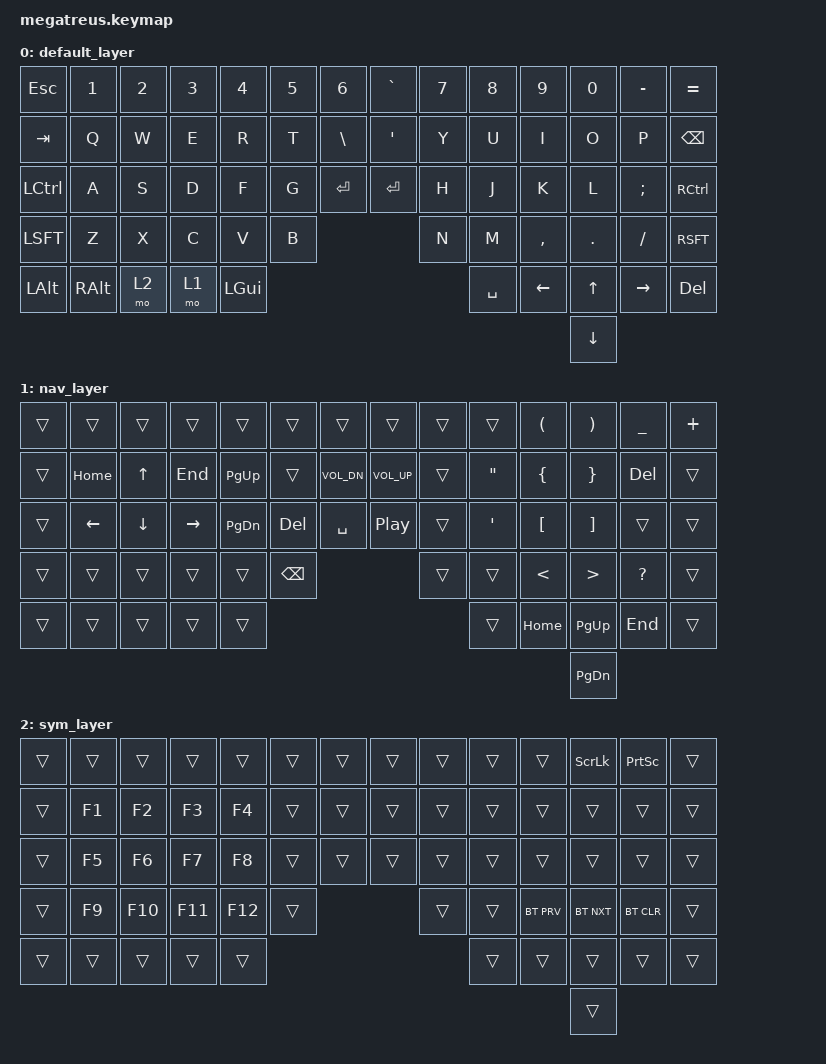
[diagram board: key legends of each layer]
/*
 * Copyright (c) 2020 The ZMK Contributors
 *
 * SPDX-License-Identifier: MIT
 */

#include <behaviors.dtsi>
#include <dt-bindings/zmk/keys.h>
#include <dt-bindings/zmk/bt.h>

/ {
        keymap {
                compatible = "zmk,keymap";

                default_layer {
                        bindings = <
    &kp ESC   &kp N1    &kp N2    &kp N3    &kp N4    &kp N5    &kp N6       &kp GRAVE    &kp N7    &kp N8    &kp N9    &kp N0    &kp MINUS &kp EQL
    &kp TAB   &kp Q     &kp W     &kp E     &kp R     &kp T     &kp BSLH     &kp SQT      &kp Y     &kp U     &kp I     &kp O     &kp P     &kp BSPC
    &kp LCTL  &kp A     &kp S     &kp D     &kp F     &kp G     &kp ENTER    &kp ENTER    &kp H     &kp J     &kp K     &kp L     &kp SEMI  &kp RCTL
    &kp LSFT  &kp Z     &kp X     &kp C     &kp V     &kp B                               &kp N     &kp M     &kp COMMA &kp DOT   &kp SLASH &kp RSFT
    &kp LALT  &kp RALT  &mo 2     &mo 1     &kp LGUI                                                &kp SPACE &kp LEFT  &kp UP    &kp RIGHT &kp DEL
                                                                                                                        &kp DOWN
                        >;
                };
                nav_layer {
// -----------------------------------------------------------------------------------------
                        bindings = <
    &trans    &trans    &trans    &trans    &trans    &trans    &trans       &trans       &trans    &trans    &kp LPAR  &kp RPAR  &kp UNDER &kp PLUS
    &trans    &kp HOME  &kp UP    &kp END   &kp PG_UP &trans    &kp C_VOL_DN &kp C_VOL_UP &trans    &kp DQT   &kp LBRC  &kp RBRC  &kp DEL   &trans
    &trans    &kp LEFT  &kp DOWN  &kp RIGHT &kp PG_DN &kp DEL   &kp SPACE    &kp C_PP     &trans    &kp SQT   &kp LBKT  &kp RBKT  &trans    &trans
    &trans    &trans    &trans    &trans    &trans    &kp BSPC                            &trans    &trans    &kp LT    &kp GT    &kp QMARK &trans
    &trans    &trans    &trans    &trans    &trans                                                  &trans    &kp HOME  &kp PG_UP &kp END   &trans
                                                                                                                        &kp PG_DN
                        >;
                };

                sym_layer {
// -----------------------------------------------------------------------------------------

                        bindings = <
    &trans    &trans    &trans    &trans    &trans    &trans    &trans       &trans       &trans    &trans    &trans    &kp SLCK  &kp PSCRN &trans
    &trans    &kp F1    &kp F2    &kp F3    &kp F4    &trans    &trans       &trans       &trans    &trans    &trans    &trans    &trans    &trans
    &trans    &kp F5    &kp F6    &kp F7    &kp F8    &trans    &trans       &trans       &trans    &trans    &trans    &trans    &trans    &trans
    &trans    &kp F9    &kp F10   &kp F11   &kp F12   &trans                              &trans    &trans    &bt BT_PRV &bt BT_NXT &bt BT_CLR &trans
    &trans    &trans    &trans    &trans    &trans                                                  &trans    &trans    &trans    &trans    &trans
                                                                                                                        &trans

                        >;
                };
        };
};
